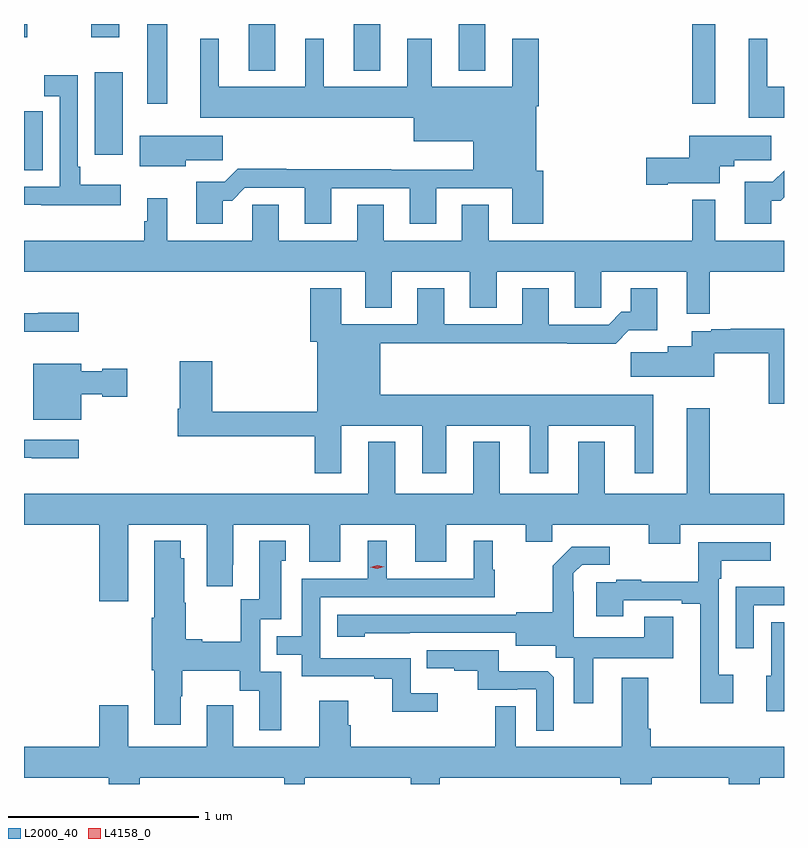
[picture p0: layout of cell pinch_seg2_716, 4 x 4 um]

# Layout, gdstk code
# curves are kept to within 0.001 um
import gdstk
lib = gdstk.Library(unit=1e-6, precision=1e-09)
def R(c, l, rs):  # rectangles x0, y0, x1, y1
    for r in rs: c.add(gdstk.rectangle(r[:2], r[2:], *l))
def A(c, l, x, y, w, h, nx, ny, dx, dy):  # array of equal rectangles
    R(c, l, [(x+i*dx, y+j*dy, x+i*dx+w, y+j*dy+h) for i in range(nx) for j in range(ny)])
def P(c, l, *ps):  # polygons
    for p in ps: c.add(gdstk.Polygon(p, *l))
L2000_40 = (2000, 40)
L4158_0 = (4158, 0)

pinch_seg2_716 = lib.new_cell('pinch_seg2_716')
A(pinch_seg2_716, L2000_40, 778.871, 650.027, 0.14, 0.245, 3, 1, 0.552, 0)
R(pinch_seg2_716, L2000_40, [(777.688,649.501,777.787,649.812), (778.061,649.584,778.207,650.017), (778.337,649.851,778.441,650.272), (781.206,649.851,781.327,650.272), (777.688,650.201,777.705,650.272), (778.042,650.201,778.189,650.272)])
P(pinch_seg2_716, L2000_40, [(781.688,649.942),(781.6,649.942),(781.6,650.194),(781.502,650.194),(781.502,649.778),(781.688,649.778)],
  [(778.735,649.343),(778.784,649.343),(778.851,649.41),(779.165,649.41),(779.165,649.221),(779.305,649.221),(779.305,649.407),(779.717,649.407),(779.717,649.221),(779.857,649.221),(779.857,649.407),(780.257,649.407),(780.257,649.221),(780.422,649.221),(780.422,649.5),(780.385,649.5),(780.385,649.838),(780.398,649.838),(780.398,650.194),(780.257,650.194),(780.257,649.942),(779.833,649.942),(779.833,650.194),(779.705,650.194),(779.705,649.942),(779.266,649.942),(779.266,650.194),(779.168,650.194),(779.168,649.942),(778.714,649.942),(778.714,650.194),(778.616,650.194),(778.616,649.778),(779.738,649.778),(779.738,649.655),(780.053,649.655),(780.053,649.504),(779.621,649.504),(779.621,649.508),(779.069,649.508),(779.069,649.511),(778.814,649.511),(778.744,649.441),(778.595,649.441),(778.595,649.221),(778.735,649.221)],
  [(778.198,649.426),(777.985,649.426),(777.985,649.522),(777.972,649.522),(777.972,650.002),(777.795,650.002),(777.795,649.893),(777.876,649.893),(777.876,649.416),(777.688,649.416),(777.688,649.32),(777.779,649.32),(777.779,649.319),(778.198,649.319)],
  [(781.075,649.433),(781.351,649.433),(781.351,649.523),(781.426,649.523),(781.426,649.555),(781.621,649.555),(781.621,649.684),(781.19,649.684),(781.19,649.568),(780.963,649.568),(780.963,649.426),(781.075,649.426)],
  [(778.54,649.555),(778.735,649.555),(778.735,649.684),(778.296,649.684),(778.296,649.523),(778.54,649.523)],
  [(781.621,649.343),(781.67,649.343),(781.688,649.361),(781.688,649.499),(781.63,649.441),(781.481,649.441),(781.481,649.221),(781.621,649.221)],
  [(779.483,648.778),(779.623,648.778),(779.623,648.968),(780.035,648.968),(780.035,648.778),(780.175,648.778),(780.175,648.968),(780.587,648.968),(780.587,648.778),(780.726,648.778),(780.726,648.968),(781.175,648.968),(781.175,648.747),(781.296,648.747),(781.296,648.968),(781.688,648.968),(781.688,649.132),(781.327,649.132),(781.327,649.348),(781.206,649.348),(781.206,649.132),(780.133,649.132),(780.133,649.322),(779.993,649.322),(779.993,649.132),(779.581,649.132),(779.581,649.322),(779.441,649.322),(779.441,649.132),(779.029,649.132),(779.029,649.322),(778.89,649.322),(778.89,649.132),(778.441,649.132),(778.441,649.354),(778.337,649.354),(778.337,649.235),(778.32,649.235),(778.32,649.132),(777.688,649.132),(777.688,648.968),(779.483,648.968)],
  [(779.359,648.158),(779.783,648.158),(779.783,647.907),(779.911,647.907),(779.911,648.158),(780.35,648.158),(780.35,647.907),(780.448,647.907),(780.448,648.158),(780.902,648.158),(780.902,647.907),(781,647.907),(781,648.322),(779.563,648.322),(779.563,648.592),(780.547,648.592),(780.547,648.59),(780.803,648.59),(780.872,648.659),(781.021,648.659),(781.021,648.88),(780.881,648.88),(780.881,648.757),(780.832,648.757),(780.765,648.69),(780.451,648.69),(780.451,648.88),(780.311,648.88),(780.311,648.693),(779.899,648.693),(779.899,648.88),(779.759,648.88),(779.759,648.693),(779.359,648.693),(779.359,648.88),(779.195,648.88),(779.195,648.6),(779.231,648.6),(779.231,648.23),(778.679,648.23),(778.679,648.496),(778.508,648.496),(778.508,648.247),(778.496,648.247),(778.496,648.102),(779.219,648.102),(779.219,647.907),(779.359,647.907)],
  [(777.976,648.752),(777.763,648.752),(777.763,648.75),(777.688,648.75),(777.688,648.653),(777.976,648.653)],
  [(781.688,648.667),(781.408,648.667),(781.408,648.666),(781.306,648.666),(781.306,648.654),(781.202,648.654),(781.202,648.577),(781.076,648.577),(781.076,648.545),(780.882,648.545),(780.882,648.416),(781.32,648.416),(781.32,648.538),(781.609,648.538),(781.609,648.273),(781.688,648.273)],
  [(777.988,648.323),(778.101,648.323),(778.101,648.311),(778.231,648.311),(778.231,648.458),(778.101,648.458),(778.101,648.445),(777.988,648.445),(777.988,648.484),(777.737,648.484),(777.737,648.188),(777.988,648.188)],
  [(781.688,647.8),(781.297,647.8),(781.297,648.25),(781.175,648.25),(781.175,647.8),(780.745,647.8),(780.745,648.073),(780.605,648.073),(780.605,647.8),(780.193,647.8),(780.193,648.073),(780.053,648.073),(780.053,647.8),(779.641,647.8),(779.641,648.073),(779.501,648.073),(779.501,647.8),(777.688,647.8),(777.688,647.636),(778.085,647.636),(778.085,647.235),(778.237,647.235),(778.237,647.636),(778.649,647.636),(778.649,647.313),(778.786,647.313),(778.786,647.425),(778.789,647.425),(778.789,647.636),(779.189,647.636),(779.189,647.442),(779.353,647.442),(779.353,647.636),(779.747,647.636),(779.747,647.442),(779.911,647.442),(779.911,647.636),(780.329,647.636),(780.329,647.546),(780.467,647.546),(780.467,647.636),(780.977,647.636),(780.977,647.537),(781.141,647.537),(781.141,647.636),(781.688,647.636)],
  [(777.976,648.084),(777.688,648.084),(777.688,647.988),(777.729,647.988),(777.729,647.987),(777.976,647.987)],
  [(779.041,646.863),(778.932,646.863),(778.932,647.139),(779.041,647.139),(779.041,647.448),(779.065,647.448),(779.065,647.551),(778.925,647.551),(778.925,647.244),(778.829,647.244),(778.829,647.02),(778.627,647.02),(778.627,647.033),(778.539,647.033),(778.539,647.225),(778.531,647.225),(778.531,647.46),(778.513,647.46),(778.513,647.551),(778.373,647.551),(778.373,647.147),(778.361,647.147),(778.361,646.872),(778.373,646.872),(778.373,646.584),(778.513,646.584),(778.513,646.734),(778.521,646.734),(778.521,646.868),(778.824,646.868),(778.824,646.762),(778.925,646.762),(778.925,646.554),(779.041,646.554)],
  [(779.866,646.75),(779.724,646.75),(779.724,646.935),(779.247,646.935),(779.247,647.256),(780.166,647.256),(780.166,647.4),(780.154,647.4),(780.154,647.551),(780.056,647.551),(780.056,647.352),(779.596,647.352),(779.596,647.551),(779.498,647.551),(779.498,647.352),(779.151,647.352),(779.151,647.049),(779.017,647.049),(779.017,646.953),(779.151,646.953),(779.151,646.839),(779.531,646.839),(779.531,646.827),(779.626,646.827),(779.626,646.652),(779.866,646.652)],
  [(781.42,646.846),(781.344,646.846),(781.344,647.351),(781.357,647.351),(781.357,647.447),(781.618,647.447),(781.618,647.544),(781.236,647.544),(781.236,647.336),(780.937,647.336),(780.937,647.347),(780.805,647.347),(780.805,647.334),(780.701,647.334),(780.701,647.154),(780.841,647.154),(780.841,647.238),(781.151,647.238),(781.151,647.22),(781.247,647.22),(781.247,646.698),(781.42,646.698)],
  [(780.685,646.934),(781.105,646.934),(781.105,647.153),(780.953,647.153),(780.953,647.044),(780.582,647.044),(780.582,647.285),(780.58,647.285),(780.58,647.38),(780.627,647.427),(780.772,647.427),(780.772,647.521),(780.571,647.521),(780.471,647.421),(780.471,647.176),(780.279,647.176),(780.279,647.163),(779.337,647.163),(779.337,647.048),(779.481,647.048),(779.481,647.066),(780.275,647.067),(780.275,647),(780.486,647),(780.486,646.936),(780.581,646.936),(780.581,646.698),(780.685,646.698)],
  [(781.53,647.214),(781.688,647.214),(781.688,647.311),(781.434,647.311),(781.434,646.986),(781.53,646.986)],
  [(781.688,647.124),(781.62,647.124),(781.62,646.842),(781.595,646.842),(781.595,646.655),(781.688,646.655)],
  [(780.477,646.833),(780.445,646.865),(780.187,646.865),(780.187,646.977),(779.809,646.977),(779.809,646.88),(779.953,646.88),(779.953,646.869),(780.077,646.869),(780.077,646.767),(780.284,646.767),(780.284,646.77),(780.384,646.77),(780.384,646.553),(780.477,646.553)],
  [(780.973,646.564),(780.973,646.831),(780.833,646.831),(780.833,646.468),(780.276,646.468),(780.276,646.682),(780.168,646.682),(780.168,646.468),(779.408,646.468),(779.408,646.581),(779.395,646.581),(779.395,646.711),(779.243,646.711),(779.243,646.468),(778.789,646.468),(778.789,646.687),(778.649,646.687),(778.649,646.468),(778.237,646.468),(778.237,646.687),(778.085,646.687),(778.085,646.468),(777.688,646.468),(777.688,646.304),(778.133,646.304),(778.133,646.272),(778.298,646.272),(778.298,646.304),(779.058,646.304),(779.058,646.272),(779.166,646.272),(779.166,646.304),(779.723,646.304),(779.723,646.272),(779.876,646.272),(779.876,646.304),(780.827,646.304),(780.827,646.272),(780.991,646.272),(780.991,646.304),(781.397,646.304),(781.397,646.272),(781.561,646.272),(781.561,646.304),(781.688,646.304),(781.688,646.468),(780.986,646.468),(780.986,646.564)])
P(pinch_seg2_716, L4158_0, [(779.547,647.404),(779.511,647.413),(779.511,647.413),(779.511,647.413),(779.547,647.424),(779.583,647.416),(779.583,647.415),(779.583,647.415)])

lib.write_gds('pinch_seg2_716.gds')
